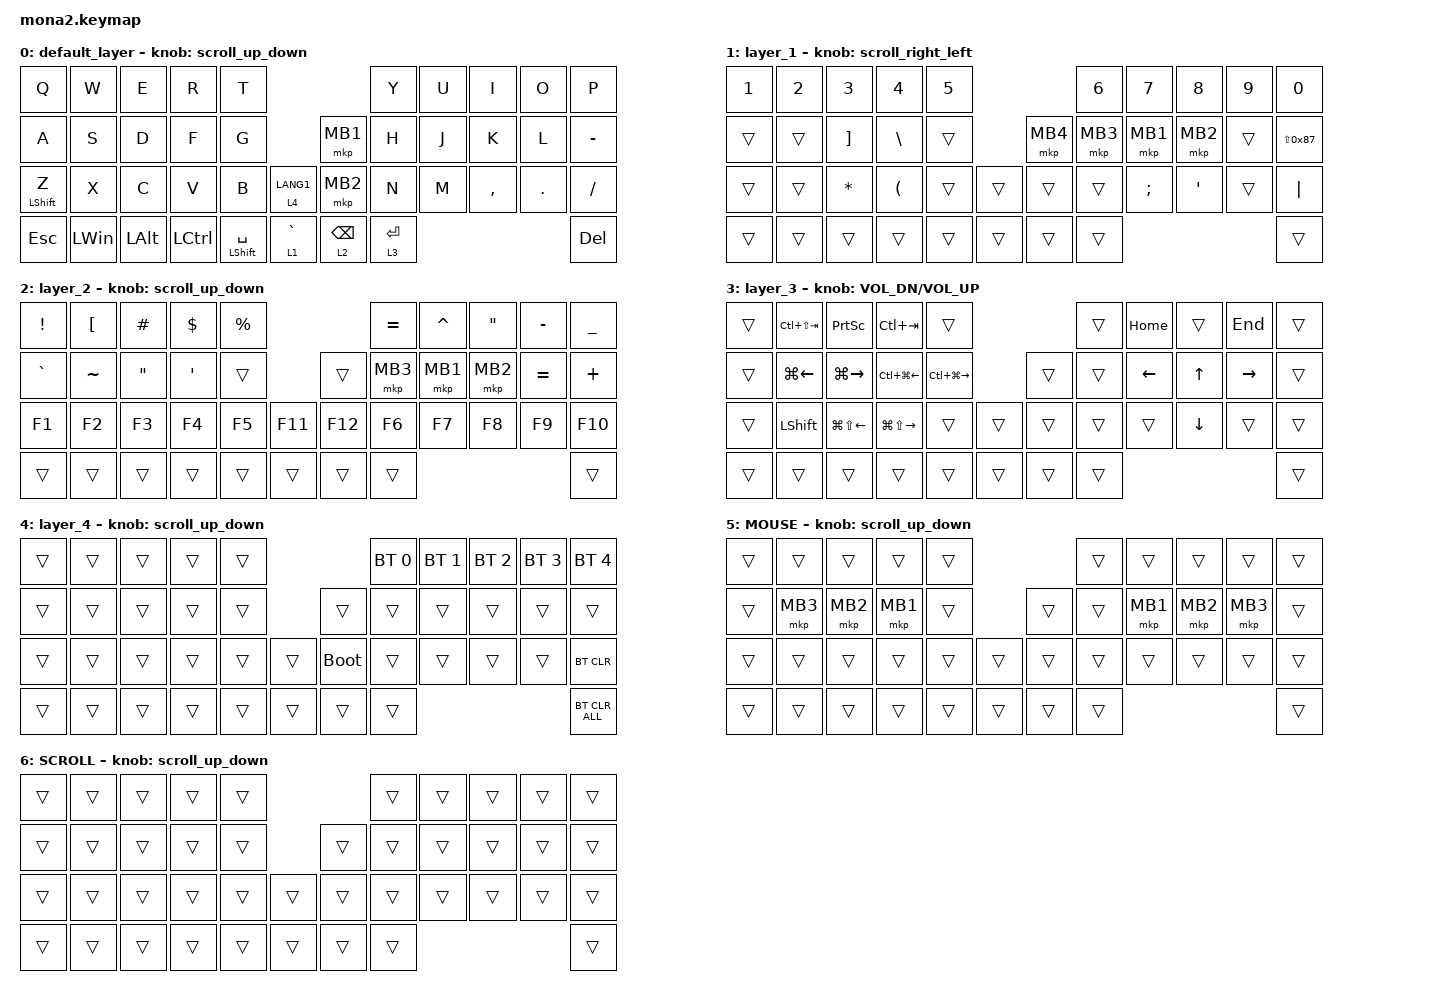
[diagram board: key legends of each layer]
#include <input/processors.dtsi>
#include <dt-bindings/zmk/input_transform.h>
#include <zephyr/dt-bindings/input/input-event-codes.h>
#include <behaviors.dtsi>
#include <dt-bindings/zmk/bt.h>
#include <dt-bindings/zmk/keys.h>
#include <dt-bindings/zmk/pointing.h>

#define ZMK_POINTING_DEFAULT_SCRL_VAL 100
#define MOUSE 5
#define SCROLL 6

#define JP_DQUOTE       AT                // "
#define JP_AMPERSAND    CARET             // &
#define JP_QUOTE        AMPERSAND         // '
#define JP_EQUAL        UNDER             // =
#define JP_CARET        EQUAL             // ^
#define JP_YEN          0x89              // ¥
#define JP_PLUS         COLON             // +
#define JP_TILDE        PLUS              // ~
#define JP_PIPE         LS(0x89)          // |
#define JP_AT           LEFT_BRACKET      // @
#define JP_COLON        SINGLE_QUOTE      // :
#define JP_ASTERISK     DOUBLE_QUOTES     // *
#define JP_BACKQUOTE    LEFT_BRACE        // `
#define JP_UNDERSCORE   LS(0x87)          // _
#define JP_LBRACKET     RIGHT_BRACKET     // [
#define JP_RBRACKET     BACKSLASH         // ]
#define JP_LPAREN       ASTERISK          // (
#define JP_RPAREN       LEFT_PARENTHESIS  // )
#define JP_LBRACE       RIGHT_BRACE       // {
#define JP_RBRACE       PIPE              // }
#define JP_KANA         LANGUAGE_1        // かな
#define JP_EISU         LANGUAGE_2        // 英数
#define JP_HANZEN       GRAVE             // 半角/全角

&mt {
    flavor = "balanced";
    quick-tap-ms = <0>;
};

&lt {
    quick-tap-ms = <300>;
    flavor = "balanced";
};

/ {
    combos {
        compatible = "zmk,combos";

        tab {
            bindings = <&kp TAB>;
            key-positions = <0 1>;
        };
    };

    macros {
        to_layer_0: to_layer_0 {
            compatible = "zmk,behavior-macro-one-param";
            #binding-cells = <1>;
            bindings = <&to 0 &macro_param_1to1 &kp MACRO_PLACEHOLDER>;
            label = "TO_LAYER_0";
        };
    };

    behaviors {
        lt_to_layer_0: lt_to_layer_0 {
            compatible = "zmk,behavior-hold-tap";
            label = "LAYER_TAP_TO_0";
            bindings = <&mo>, <&to_layer_0>;

            #binding-cells = <2>;
            tapping-term-ms = <200>;
        };
        
        scroll_up_down: mouse_wheel_up_down {
            compatible = "zmk,behavior-sensor-rotate";
            #sensor-binding-cells = <0>;
            bindings = <&msc SCRL_UP>, <&msc SCRL_DOWN>;

            tap-ms = <20>;
        };

        scroll_right_left: mouse_wheel_right_left {
            compatible = "zmk,behavior-sensor-rotate";
            #sensor-binding-cells = <0>;
            bindings = <&msc SCRL_LEFT>, <&msc SCRL_RIGHT>;

            tap-ms = <20>;
        };
    };

    keymap {
        compatible = "zmk,keymap";

        default_layer {
            bindings = <
&kp Q             &kp W         &kp E     &kp R      &kp T                                                 &kp Y        &kp U  &kp I      &kp O    &kp P
&kp A             &kp S         &kp D     &kp F      &kp G                                &mkp MB1         &kp H        &kp J  &kp K      &kp L    &kp MINUS
&mt LEFT_SHIFT Z  &kp X         &kp C     &kp V      &kp B             &lt 4 LANG1        &mkp MB2         &kp N        &kp M  &kp COMMA  &kp DOT  &kp SLASH
&kp ESC           &kp LEFT_WIN  &kp LALT  &kp LCTRL  &mt LSHIFT SPACE  &lt 1 JP_HANZEN    &lt 2 BACKSPACE  &lt 3 ENTER                             &kp DELETE
            >;

            sensor-bindings = <&scroll_up_down>;
        };

        layer_1 {
            bindings = <
&kp NUMBER_1  &kp NUMBER_2  &kp NUMBER_3      &kp NUMBER_4       &kp NUMBER_5                      &kp NUMBER_6  &kp NUMBER_7   &kp NUMBER_8  &kp NUMBER_9  &kp NUMBER_0
&trans        &trans        &kp JP_LBRACKET   &kp JP_RBRACKET    &trans                  &mkp MB4  &mkp MB3      &mkp MB1       &mkp MB2      &trans        &kp JP_UNDERSCORE
&trans        &trans        &kp JP_LPAREN     &kp JP_RPAREN      &trans        &trans    &trans    &trans        &kp SEMICOLON  &kp JP_COLON  &trans        &kp PIPE
&trans        &trans        &trans            &trans             &trans        &trans    &trans    &trans                                                   &trans
            >;

            sensor-bindings = <&scroll_right_left>;
        };

        layer_2 {
            bindings = <
&kp EXCLAMATION  &kp JP_AT  &kp POUND          &kp DOLLAR  &kp PERCENT                      &kp JP_CARET  &kp JP_AMPERSAND  &kp JP_ASTERISK  &kp MINUS  &kp UNDERSCORE
&kp GRAVE        &kp TILDE  &kp DOUBLE_QUOTES  &kp SQT     &trans                  &trans   &mkp MB3      &mkp MB1          &mkp MB2         &kp EQUAL  &kp PLUS
&kp F1           &kp F2     &kp F3             &kp F4      &kp F5       &kp F11    &kp F12  &kp F6        &kp F7            &kp F8           &kp F9     &kp F10
&trans           &trans     &trans             &trans      &trans       &trans     &trans   &trans                                                      &trans
            >;

            sensor-bindings = <&scroll_up_down>;
        };

        layer_3 {
            bindings = <
&trans  &kp LC(LS(TAB))     &kp PRINTSCREEN         &kp LC(TAB)              &trans                                     &trans  &kp HOME        &trans          &kp END          &trans
&trans  &kp LG(LEFT_ARROW)  &kp LG(RIGHT_ARROW)     &kp LC(LG(LEFT_ARROW))   &kp LC(LG(RIGHT_ARROW))            &trans  &trans  &kp LEFT_ARROW  &kp UP_ARROW    &kp RIGHT_ARROW  &trans
&trans  &kp LEFT_SHIFT      &kp LG(LS(LEFT_ARROW))  &kp LG(LS(RIGHT_ARROW))  &trans                   &trans    &trans  &trans  &trans          &kp DOWN_ARROW  &trans           &trans
&trans  &trans              &trans                  &trans                   &trans                   &trans    &trans  &trans                                                   &trans
            >;

            sensor-bindings = <&inc_dec_kp C_VOL_DN C_VOL_UP>;
        };

        layer_4 {
            bindings = <
&trans  &trans  &trans  &trans  &trans                         &bt BT_SEL 0  &bt BT_SEL 1  &bt BT_SEL 2  &bt BT_SEL 3  &bt BT_SEL 4
&trans  &trans  &trans  &trans  &trans            &trans       &trans        &trans        &trans        &trans        &trans
&trans  &trans  &trans  &trans  &trans  &trans    &bootloader  &trans        &trans        &trans        &trans        &bt BT_CLR
&trans  &trans  &trans  &trans  &trans  &trans    &trans       &trans                                                  &bt BT_CLR_ALL
            >;

            sensor-bindings = <&scroll_up_down>;
        };

        MOUSE {
            bindings = <
&trans  &trans    &trans    &trans    &trans                    &trans  &trans    &trans    &trans    &trans
&trans  &mkp MB3  &mkp MB2  &mkp MB1  &trans            &trans  &trans  &mkp MB1  &mkp MB2  &mkp MB3  &trans
&trans  &trans    &trans    &trans    &trans  &trans    &trans  &trans  &trans    &trans    &trans    &trans
&trans  &trans    &trans    &trans    &trans  &trans    &trans  &trans                                &trans
            >;

            sensor-bindings = <&scroll_up_down>;
        };

        SCROLL {
            bindings = <
&trans  &trans  &trans  &trans  &trans                    &trans  &trans  &trans  &trans  &trans
&trans  &trans  &trans  &trans  &trans            &trans  &trans  &trans  &trans  &trans  &trans
&trans  &trans  &trans  &trans  &trans  &trans    &trans  &trans  &trans  &trans  &trans  &trans
&trans  &trans  &trans  &trans  &trans  &trans    &trans  &trans                          &trans
            >;

            sensor-bindings = <&scroll_up_down>;
        };
    };
};
